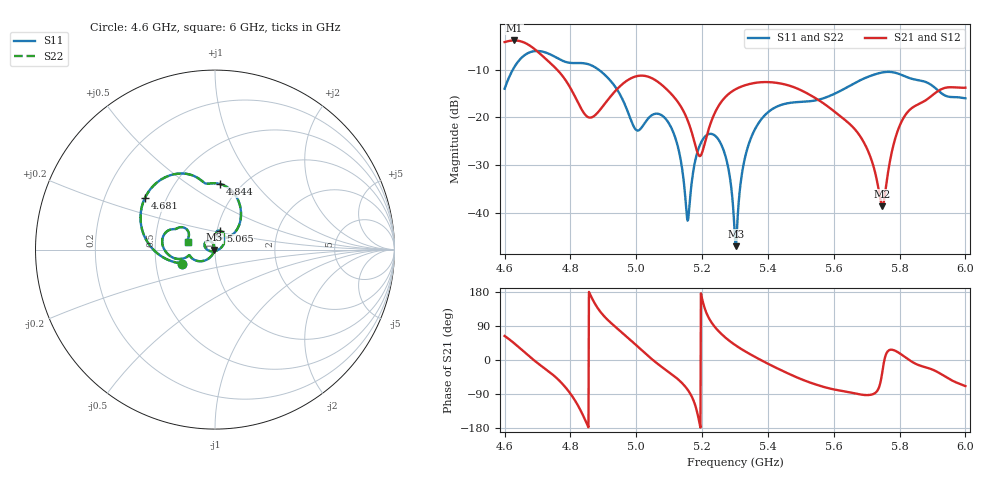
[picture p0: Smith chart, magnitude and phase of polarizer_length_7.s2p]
! TOUCHSTONE file generated by CST MICROWAVE STUDIO
! Date and time: Sun Dec  1 17:16:58 2024
! Project name: test_tuning.cst
! Parameters = {airCoaxOuterDiameter=3; chamferAngle=45; chamferWidth=24; connectorLength=10; drillingHoleDiameter=4.1; feedLength=60; flareDiameter=130; flareLength=70; gratingDistance=0; gratingGap=1.90274; outletLength=30; polarizerLength=76; probe1Diameter=1.3; probe1Distance=14; probe1Length=12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
! Header version: 2024
! Port assignment regex: !\s*Touchstone port\s*([0-9]+)\s*=\s*(CST MWS port|CST DES external port|CST DES block port)\s*(.+)\s* \(\"(.*)\"\)(\s*mode\s*([0-9]+))?.*
! Touchstone port assignment:
! Touchstone port 1 = CST MWS port 1 ("Input1")
! Touchstone port 2 = CST MWS port 2 ("Input2")
# GHz S MA R 50
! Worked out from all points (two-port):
!   1001 points, 4.6 GHz to 6 GHz, reference 50 ohm
!   highest |S21| = -3.91 dB at 4.629 GHz (marker M1); lowest = -38.7 dB at 5.748 GHz (marker M2)
!   |S21| within 3 dB of the highest: start of sweep to 4.711 GHz
!   lowest |S11| = -47.0 dB at 5.303 GHz (marker M3), VSWR 1.01, Z = 49.6 - j0.0225 ohm
!   |S11| at or under -10 dB: start of sweep to 4.625 GHz; 4.885 GHz to end of sweep
!   |S22| runs from -47.0 to -6.1 dB; largest |S21 - S12| = 5.7e-07
!   S11 on the Smith chart (normalised r, x): 4.6 GHz: 0.68, -0.11; 4.681 GHz: 0.38, +0.28; 4.844 GHz: 0.80, +0.68; 5.065 GHz: 1.04, +0.22; 6 GHz: 0.73, +0.06
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4.6  0.199 -157.1  0.6131 63.5  0.6131 63.5  0.199 -157.1
4.6294  0.3346 -178.4  0.6374 43.9  0.6374 43.9  0.3346 -178.4
4.6812  0.4849 143.7  0.5493 5.1  0.5493 5.1  0.4849 143.7
4.8338  0.3695 89.4  0.1211 -138.1  0.1211 -138.1  0.3695 89.4
4.8436  0.3666 85.7  0.1076 -156.1  0.1076 -156.1  0.3666 85.7
5.0004  0.07326 63.1  0.2689 38.6  0.2689 38.6  0.07326 63.1
5.0648  0.1089 74.0  0.2361 -10.0  0.2361 -10.0  0.1089 74.0
5.0676  0.1085 72.3  0.2323 -11.9  0.2323 -11.9  0.1085 72.3
5.1208  0.05771 33.0  0.1534 -46.4  0.1534 -46.4  0.05771 33.0
5.1558  0.008259 -69.9  0.09343 -78.0  0.09343 -78.0  0.008258 -69.9
5.1922  0.04997 174.3  0.0392 -166.4  0.0392 -166.4  0.04997 174.3
5.2594  0.05075 117.5  0.1465 68.1  0.1465 68.1  0.05075 117.5
5.3  0.00531 140.8  0.195 39.8  0.195 39.8  0.00531 140.8
5.3028  0.00446 -177.1  0.1974 38.1  0.1974 38.1  0.00446 -177.1
5.328  0.03468 -118.2  0.2149 24.3  0.2149 24.3  0.03468 -118.2
5.3672  0.08215 -132.7  0.2306 5.2  0.2306 5.2  0.08215 -132.7
5.5338  0.148 -167.6  0.1667 -61.2  0.1667 -61.2  0.148 -167.6
5.6808  0.2446 -170.3  0.06284 -91.0  0.06284 -91.0  0.2446 -170.3
5.748  0.2948 173.9  0.01168 -29.3  0.01168 -29.3  0.2948 173.9
5.7676  0.2988 167.7  0.03006 25.5  0.03006 25.5  0.2988 167.7
5.8278  0.2589 153.9  0.1167 0.8  0.1167 0.8  0.2589 153.9
6  0.1579 164.2  0.2038 -68.9  0.2038 -68.9  0.1579 164.2
